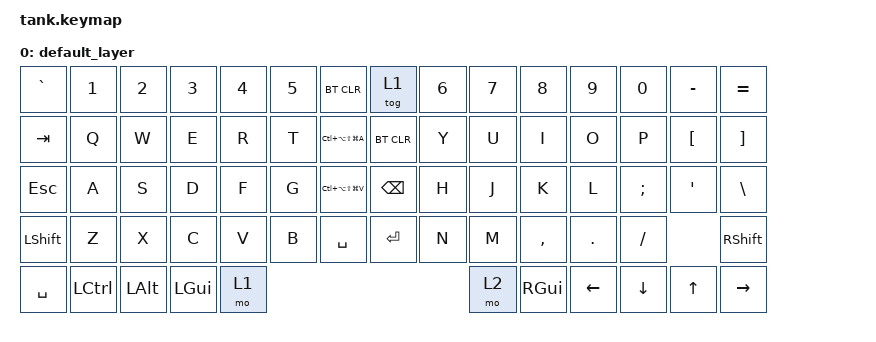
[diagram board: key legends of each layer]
/*
 * Copyright (c) 2020 The ZMK Contributors
 *
 * SPDX-License-Identifier: MIT
 */

#include <behaviors.dtsi>
#include <dt-bindings/zmk/keys.h>
#include <dt-bindings/zmk/bt.h>

/ {
        keymap {
                compatible = "zmk,keymap";

                default_layer {
                        bindings = <
   &kp GRAVE   &kp N1     &kp N2    &kp N3    &kp N4   &kp N5  &bt BT_CLR                 &tog 1      &kp N6  &kp N7   &kp N8     &kp N9    &kp N0    &kp MINUS    &kp EQUAL
   &kp TAB     &kp Q      &kp W     &kp E     &kp R    &kp T   &kp LC(LA(LS(LG(A))))      &bt BT_CLR  &kp Y   &kp U    &kp I      &kp O     &kp P     &kp LBKT     &kp RBKT
   &kp ESC     &kp A      &kp S     &kp D     &kp F    &kp G   &kp LC(LA(LS(LG(V))))      &kp BSPC    &kp H   &kp J    &kp K      &kp L     &kp SEMI  &kp SQT      &kp BSLH
   &kp LSHFT   &kp Z      &kp X     &kp C     &kp V    &kp B   &kp SPACE                  &kp RET     &kp N   &kp M    &kp COMMA  &kp DOT   &kp FSLH               &kp RSHIFT
   &kp SPACE   &kp LCTRL  &kp LALT  &kp LGUI  &mo 1                                                           &mo 2    &kp RGUI   &kp LEFT  &kp DOWN  &kp UP       &kp RIGHT
                        >;
                };
        };
};
